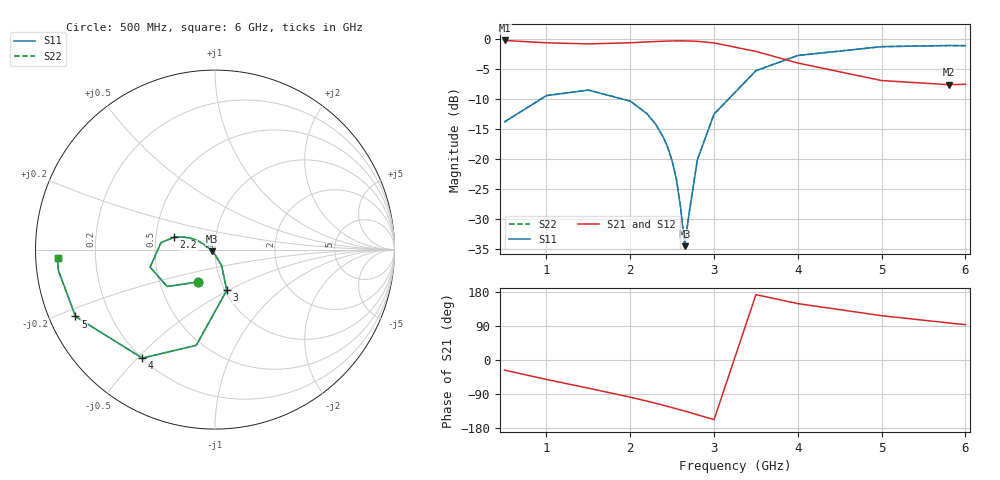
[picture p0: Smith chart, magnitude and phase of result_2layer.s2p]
! EMerge top/L2 PCB model; ideal lumped ports; connectors omitted
! Directly solved frequencies only
# Hz S RI R 50
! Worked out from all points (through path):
!   20 points, 500 MHz to 6 GHz, reference 50 ohm
!   highest |S21| = -0.25 dB at 500 MHz (marker M1); lowest = -7.6 dB at 5.8 GHz (marker M2)
!   lowest |S11| = -34.6 dB at 2.65 GHz (marker M3), VSWR 1.04, Z = 48.4 - j0.932 ohm
!   |S11| at or under -10 dB: start of sweep to 937.4 MHz; 1.898 GHz to 3.175 GHz (1.277 GHz wide, 50.4 % of centre)
!   |S22| runs from -34.2 to -1.1 dB; largest |S21 - S12| = 2.4e-06
!   S11 on the Smith chart (normalised r, x): 500 MHz: 0.78, -0.29; 2.2 GHz: 0.62, +0.09; 3 GHz: 1.02, -0.49; 4 GHz: 0.20, -0.52; 5 GHz: 0.08, -0.23; 6 GHz: 0.06, -0.03
5e8  -0.095 -0.1799  0.867 -0.4373  0.867 -0.4373  -0.095 -0.18
1e9  -0.2667 -0.2058  0.5794 -0.7248  0.5794 -0.7248  -0.2665 -0.2059
1.5e9  -0.3614 -0.0975  0.2455 -0.8753  0.2455 -0.8753  -0.3613 -0.0978
2e9  -0.3002 0.0399  -0.1311 -0.9196  -0.1311 -0.9196  -0.3003 0.0393
2.2e9  -0.2274 0.069  -0.3003 -0.8949  -0.3003 -0.8949  -0.2276 0.0684
2.3e9  -0.1827 0.0715  -0.3877 -0.8687  -0.3877 -0.8687  -0.183 0.0708
2.4e9  -0.1346 0.0635  -0.4752 -0.8313  -0.4752 -0.8313  -0.135 0.0629
2.45e9  -0.1099 0.0552  -0.5184 -0.808  -0.5184 -0.808  -0.1103 0.0546
2.5e9  -0.0853 0.0438  -0.5608 -0.7815  -0.5608 -0.7815  -0.0858 0.0431
2.55e9  -0.0612 0.0292  -0.602 -0.7517  -0.602 -0.7517  -0.0617 0.0286
2.6e9  -0.0379 0.0114  -0.6417 -0.7186  -0.6417 -0.7186  -0.0385 0.0108
2.65e9  -0.016 -0.00962  -0.6794 -0.6823  -0.6794 -0.6823  -0.0166 -0.0102
2.7e9  0.00415 -0.0337  -0.7147 -0.6428  -0.7147 -0.6428  0.00353 -0.0342
2.8e9  0.0374 -0.0901  -0.7764 -0.5554  -0.7765 -0.5554  0.0368 -0.0906
3e9  0.0658 -0.2267  -0.8551 -0.3569  -0.8551 -0.3569  0.065 -0.227
3.5e9  -0.1041 -0.5333  -0.7795 0.1035  -0.7795 0.1035  -0.1048 -0.5332
4e9  -0.4048 -0.6047  -0.538 0.3267  -0.538 0.3267  -0.4052 -0.6045
5e9  -0.7773 -0.3724  -0.204 0.4007  -0.204 0.4007  -0.7772 -0.3725
5.8e9  -0.8733 -0.1141  -0.0568 0.4112  -0.0568 0.4112  -0.8733 -0.1147
6e9  -0.8772 -0.0473  -0.0235 0.4179  -0.0235 0.4179  -0.8772 -0.048
